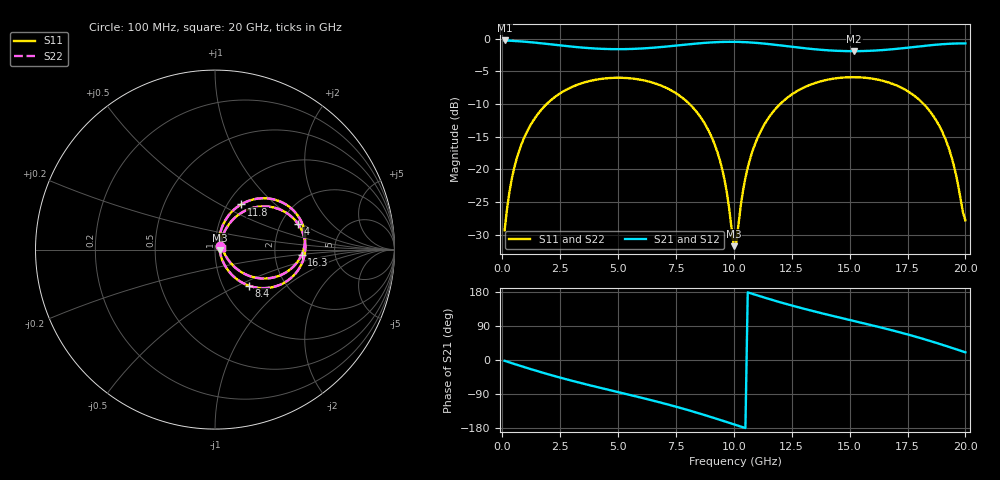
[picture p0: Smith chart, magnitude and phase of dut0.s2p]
! Touchstone file exported from HFSS 2026.1.0
!  File:  C:/ffzhzh/LocalFiles/Ansys_Project_Files/temp_val_TSV_RDL_0_1782975121_15332.aedt
!  Generated:  03:05:53 PM Jul  2, 2026
!  Design:  TSV_RDL
!  Project:  temp_val_TSV_RDL_0_1782975121_15332
! Variables:
!  h_bsmrdl = 2.29um
!  h_ox = 20um
!  h_rdl = 5um
!  h_sub = 76.3um
!  h_tmrdl = 4.46um
!  h_tsv = 76.3um
!  h_via = 3um
!  l_bsmrdl = 660.77um
!  l_sub = 5610um
!  l_tmrdl = 774.8um
!  m_sub = 200um
!  pitch = 47.33um
!  r_tsv = 12.84um
!  s_tmrdl = 10um
!  w_bsmrdl = 27.7um
!  w_sub = 500um
!  w_tmrdl = 15.13um
!  x_tsv_center1 = 782.365um
!  x_tsv_center2 = 1470.835um
!  x_tsv_center3 = 2260.765um
!  x_tsv_center4 = 2949.235um
!  x_tsv_center5 = 3739.165um
!  x_tsv_center6 = 4427.635um
# GHz S MA R 50.000000
! Terminal data exported
! Port[1] = TM_RDL1_1_T1
! Port[2] = TM_RDL5_1_T1
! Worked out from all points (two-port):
!   200 points, 100 MHz to 20 GHz, reference 50 ohm
!   highest |S21| = -0.25 dB at 100 MHz (marker M1); lowest = -1.9 dB at 15.2 GHz (marker M2)
!   |S21| within 3 dB of the highest: start of sweep to end of sweep
!   lowest |S11| = -31.8 dB at 10 GHz (marker M3), VSWR 1.05, Z = 52.6 - j0.391 ohm
!   |S11| at or under -10 dB: start of sweep to 1.913 GHz; 8.09 GHz to 11.99 GHz (3.904 GHz wide, 38.9 % of centre); 18.2 GHz to end of sweep
!   |S22| runs from -31.7 to -5.9 dB; largest |S21 - S12| = 1.7e-14
!   S11 on the Smith chart (normalised r, x): 100 MHz: 1.06, +0.04; 4 GHz: 2.49, +0.92; 8.4 GHz: 1.32, -0.57; 11.8 GHz: 1.15, +0.63; 16.3 GHz: 2.85, -0.21; 20 GHz: 1.08, +0.02
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0.1  0.03421 34.1  0.9722 -2.1  0.9722 -2.1  0.03421 34.1
! Gamma 0 0 0 0
! Port Impedance 50 0 50 0
0.5  0.1002 61.7  0.9642 -10.1  0.9642 -10.1  0.1002 61.7
1.1  0.1998 58.8  0.9469 -21.6  0.9469 -21.6  0.1998 58.8
2.1  0.3391 44.7  0.9076 -39.7  0.9076 -39.7  0.3391 44.7
3.5  0.4613 24.0  0.8558 -62.5  0.8558 -62.5  0.4613 24.0
4  0.4849 16.9  0.8437 -70.0  0.8437 -70.0  0.4849 16.9
6.8  0.4429 -22.5  0.8636 -111.7  0.8636 -111.7  0.4429 -22.5
8.4  0.2747 -46.9  0.9209 -139.0  0.9209 -139.0  0.2747 -46.9
9.4  0.117 -58.2  0.9462 -158.0  0.9462 -158.0  0.117 -58.2
9.7  0.06613 -54.2  0.949 -163.8  0.949 -163.8  0.06613 -54.0
10  0.02583 -8.3  0.9491 -169.8  0.9491 -169.8  0.02594 -8.1
10.1  0.02704 29.7  0.9486 -171.7  0.9486 -171.7  0.02718 29.7
10.4  0.06934 69.5  0.945 -177.6  0.945 -177.6  0.06944 69.4
10.7  0.1202 72.9  0.9389 176.5  0.9389 176.5  0.1203 72.8
11.8  0.2908 60.0  0.9001 156.0  0.9001 156.0  0.2908 60.0
13.4  0.452 36.2  0.8353 129.4  0.8353 129.4  0.4521 36.2
15.2  0.5087 11.5  0.8048 102.8  0.8048 102.8  0.5087 11.5
16.3  0.4835 -3.4  0.8177 86.6  0.8177 86.6  0.4835 -3.4
16.7  0.4623 -9.0  0.828 80.5  0.828 80.5  0.4623 -9.0
18.8  0.2273 -38.4  0.904 44.1  0.904 44.1  0.2273 -38.5
19.4  0.1248 -41.0  0.9186 32.4  0.9186 32.4  0.1247 -41.2
20  0.04071 14.0  0.9225 20.2  0.9225 20.2  0.04031 14.0
